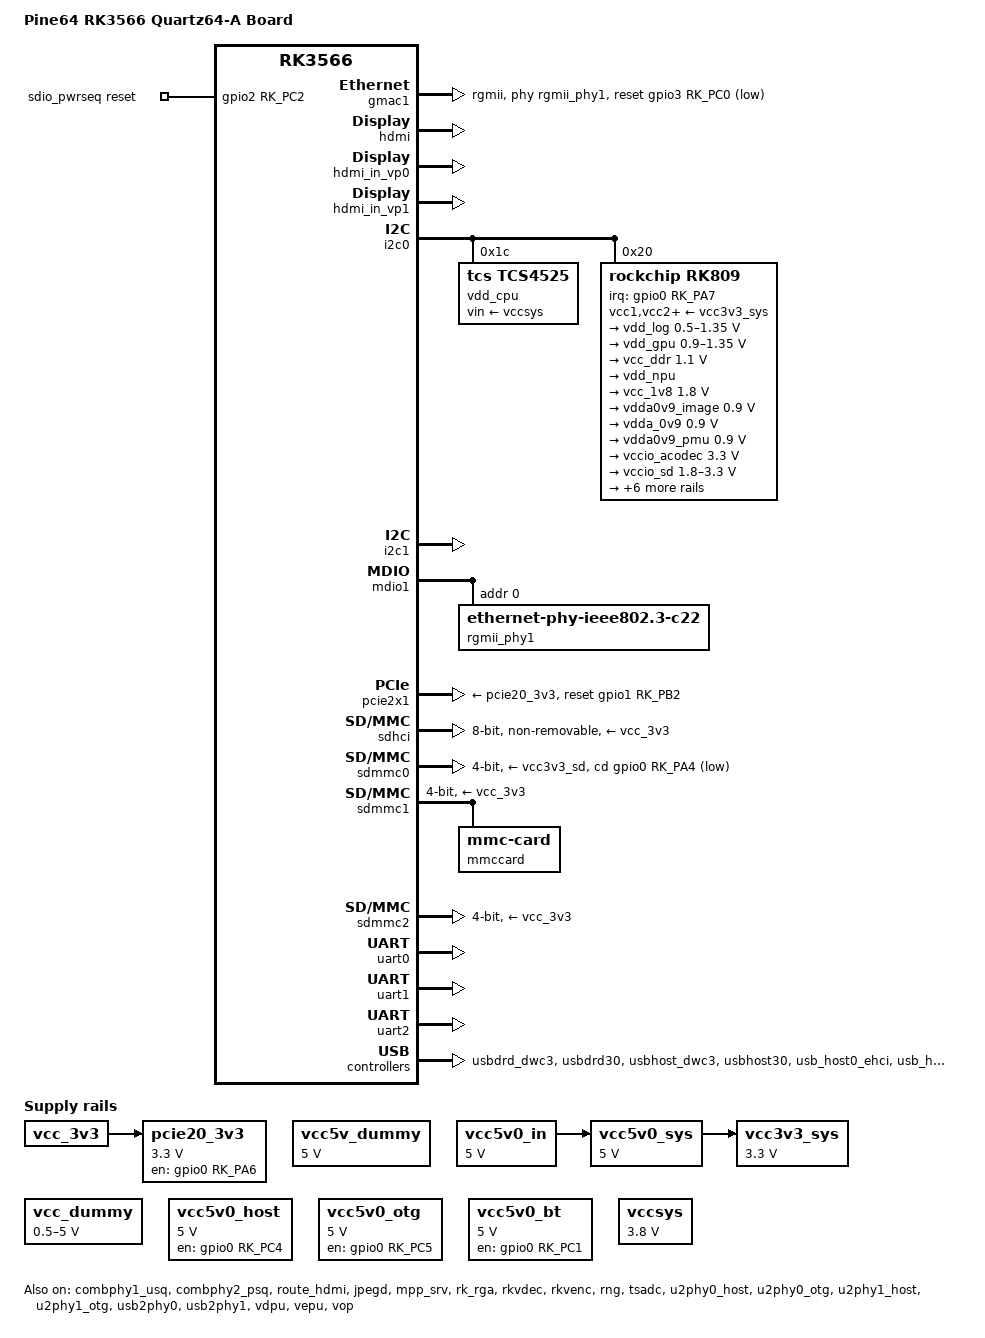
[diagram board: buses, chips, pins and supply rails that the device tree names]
// SPDX-License-Identifier: (GPL-2.0+ OR MIT)
/*
 *
 */

/dts-v1/;

#include <dt-bindings/gpio/gpio.h>
#include <dt-bindings/pinctrl/rockchip.h>
#include "rk3566.dtsi"

/ {
	model = "Pine64 RK3566 Quartz64-A Board";
	compatible = "rockchip,rk3566-quartz64-a", "rockchip,rk3566";

	aliases {
		mmc0 = &sdmmc0;
		mmc1 = &sdhci;
		mmc2 = &sdmmc1;
		mmc3 = &sdmmc2;
	};

	chosen: chosen {
	};

	pcie20_3v3: pcie20_3v3 {
		compatible = "regulator-fixed";
		regulator-name = "pcie20_3v3";
		regulator-min-microvolt = <3300000>;
		regulator-max-microvolt = <3300000>;
		gpio = <&gpio0 RK_PA6 GPIO_ACTIVE_HIGH>;
		enable-active-high;
		regulator-always-on;
		vin-supply = <&vcc_3v3>;
	};

	vcc5v_dummy: vcc5v_dummy {
		compatible = "regulator-fixed";
		regulator-name = "vcc5v_dummy";
		regulator-min-microvolt = <5000000>;
		regulator-max-microvolt = <5000000>;
		regulator-always-on;
	};

	vcc3v3_sys: vcc3v3_sys {
		compatible = "regulator-fixed";
		regulator-name = "vcc3v3_sys";
		regulator-min-microvolt = <3300000>;
		regulator-max-microvolt = <3300000>;
		regulator-always-on;
		vin-supply = <&vcc5v0_sys>;
	};

	vcc5v0_sys: vcc5v0_sys {
		compatible = "regulator-fixed";
		regulator-name = "vcc5v0_sys";
		regulator-min-microvolt = <5000000>;
		regulator-max-microvolt = <5000000>;
		regulator-always-on;
		vin-supply = <&vcc5v0_in>;
	};

	vcc5v0_in: vcc5v0_in {
		compatible = "regulator-fixed";
		regulator-name = "vcc5v0_in";
		regulator-min-microvolt = <5000000>;
		regulator-max-microvolt = <5000000>;
		regulator-always-on;
	};

	vcc_dummy: vcc_dummy {
		compatible = "regulator-fixed";
		regulator-name = "vcc_dummy";
		regulator-min-microvolt = <500000>;
		regulator-max-microvolt = <5000000>;
		regulator-always-on;
	};

	vcc5v0_host: vcc5v0_host {
		compatible = "regulator-fixed";
		regulator-name = "vcc5v0_host";
		regulator-min-microvolt = <5000000>;
		regulator-max-microvolt = <5000000>;
		gpio = <&gpio0 RK_PC4 GPIO_ACTIVE_HIGH>;
		enable-active-high;
		regulator-always-on;
//		pinctrl-names = "default";
//		pinctrl-0 = <&vcc5_gpio>;
	};

	vcc5v0_otg: vcc5v0_otg {
		compatible = "regulator-fixed";
		regulator-name = "vcc5v0_otg";
		regulator-min-microvolt = <5000000>;
		regulator-max-microvolt = <5000000>;
		gpio = <&gpio0 RK_PC5 GPIO_ACTIVE_HIGH>;
		enable-active-high;
		regulator-always-on;
//		pinctrl-names = "default";
//		pinctrl-0 = <&vcc5_gpio>;
	};

	vcc5v0_bt: vcc5v0_bt {
		compatible = "regulator-fixed";
		regulator-name = "vcc5v0_bt";
		regulator-min-microvolt = <5000000>;
		regulator-max-microvolt = <5000000>;
		gpio = <&gpio0 RK_PC1 GPIO_ACTIVE_HIGH>;
		enable-active-high;
		regulator-always-on;
	};

	vcc5v0_wifi: vcc5v0_wifi {
		compatible = "regulator-fixed";
		regulator-name = "vcc5v0_wifi";
		regulator-min-microvolt = <5000000>;
		regulator-max-microvolt = <5000000>;
		gpio = <&gpio0 RK_PC0 GPIO_ACTIVE_HIGH>;
		enable-active-high;
		regulator-always-on;
		status = "disabled";
	};

	hdmi_sound: hdmi-sound {
		compatible = "simple-audio-card";
		simple-audio-card,format = "i2s";
		simple-audio-card,mclk-fs = <256>;
		simple-audio-card,name = "rockchip,hdmi";
		status = "okay";

		simple-audio-card,cpu {
				sound-dai = <&i2s0_8ch>;
		};
		simple-audio-card,codec {
				sound-dai = <&hdmi>;
		};
	};

	vccsys: vccsys {
		compatible = "regulator-fixed";
		regulator-name = "vcc3v8_sys";
		regulator-always-on;
		regulator-boot-on;
		regulator-min-microvolt = <3800000>;
		regulator-max-microvolt = <3800000>;
	};

	sdio_pwrseq: sdio-pwrseq {
		status = "okay";
		compatible = "mmc-pwrseq-simple";
		clocks = <&rk809 1>;
		clock-names = "ext_clock";
		post-power-on-delay-ms = <100>;
		power-off-delay-us = <5000000>;

		/*
		 * On the module itself this is one of these (depending
		 * on the actual card populated):
		 * - SDIO_RESET_L_WL_REG_ON
		 * - PDN (power down when low)
		 */
		reset-gpios = <&gpio2 RK_PC2 GPIO_ACTIVE_HIGH>;
	};
};

&combphy1_usq {
	status = "okay";
};

&combphy2_psq {
	status = "okay";

};

&cpu0 {
	cpu-supply = <&vdd_cpu>;
};

&cpu1 {
	cpu-supply = <&vdd_cpu>;
};

&cpu2 {
	cpu-supply = <&vdd_cpu>;
};

&cpu3 {
	cpu-supply = <&vdd_cpu>;
};

&dmac0 {
	status = "disabled";
};

&dmac1 {
	status = "disabled";
};

&gmac1 {
	phy-mode = "rgmii";
	clock_in_out = "input";

	snps,reset-gpio = <&gpio3 RK_PC0 GPIO_ACTIVE_LOW>;
	snps,reset-active-low;
	/* Reset time is 20ms, 100ms for rtl8211f */
	snps,reset-delays-us = <0 20000 100000>;

	assigned-clocks = <&cru SCLK_GMAC1_RX_TX>, <&cru SCLK_GMAC1_RGMII_SPEED>, <&cru SCLK_GMAC1>;
	assigned-clock-parents = <&cru SCLK_GMAC1_RGMII_SPEED>, <&cru SCLK_GMAC1>, <&gmac1_clkin>;

	pinctrl-names = "default";
	pinctrl-0 = <&gmac1m1_miim
		     &gmac1m1_tx_bus2
		     &gmac1m1_rx_bus2
		     &gmac1m1_rgmii_clk
		     &gmac1m1_clkinout
		     &gmac1m1_rgmii_bus>;

	tx_delay = <0x4f>;
	rx_delay = <0x25>;

	phy-handle = <&rgmii_phy1>;
	status = "okay";
};

&gpu {
	mali-supply = <&vdd_gpu>;
//	status = "okay";
};

&gpu_opp_table {
	/delete-node/ opp-200000000;
};

&hdmi {
	status = "okay";
};

&hdmi_in_vp0 {
	status = "okay";
};

&hdmi_in_vp1 {
	status = "okay";
};

&hdmi_sound {
	status = "okay";
};

&route_hdmi {
	status = "okay";
};

&i2c0 {
	status = "okay";

	vdd_cpu: regulator@1c {
		compatible = "tcs,tcs4525";
		reg = <0x1c>;
		fcs,suspend-voltage-selector = <1>;
		regulator-name = "vdd_cpu";
		regulator-min-microvolt = <800000>;
//		regulator-max-microvolt = <1390000>;
		regulator-max-microvolt = <1150000>;
		regulator-ramp-delay = <2300>;
		regulator-always-on;
		regulator-boot-on;
		vin-supply = <&vccsys>;

		regulator-state-mem {
//			regulator-off-in-suspend;
		};
	};

	rk809: pmic@20 {
		compatible = "rockchip,rk809";
		reg = <0x20>;
		interrupt-parent = <&gpio0>;
		interrupts = <RK_PA7 IRQ_TYPE_LEVEL_LOW>;
		pinctrl-names = "default";
		pinctrl-0 = <&pmic_int>;
		rockchip,system-power-controller;
		wakeup-source;
		#clock-cells = <1>;
		clock-output-names = "rk808-clkout1", "rk808-clkout2";

		vcc1-supply = <&vcc3v3_sys>;
		vcc2-supply = <&vcc3v3_sys>;
		vcc3-supply = <&vcc3v3_sys>;
		vcc4-supply = <&vcc3v3_sys>;
		vcc5-supply = <&vcc3v3_sys>;
		vcc6-supply = <&vcc3v3_sys>;
		vcc7-supply = <&vcc3v3_sys>;
		vcc8-supply = <&vcc3v3_sys>;
		vcc9-supply = <&vcc3v3_sys>;

		regulators {
			vdd_log: DCDC_REG1 {
				regulator-name = "vdd_log";
				regulator-always-on;
				regulator-boot-on;
				regulator-min-microvolt = <500000>;
				regulator-max-microvolt = <1350000>;
				regulator-init-microvolt = <900000>;
				regulator-ramp-delay = <6001>;

				regulator-state-mem {
					regulator-on-in-suspend;
					regulator-suspend-microvolt = <900000>;
				};
			};

			vdd_gpu: DCDC_REG2 {
				regulator-name = "vdd_gpu";
				regulator-always-on;
				regulator-boot-on;
				regulator-min-microvolt = <900000>;
				regulator-max-microvolt = <1350000>;
				regulator-init-microvolt = <900000>;
				regulator-ramp-delay = <6001>;

				regulator-state-mem {
					regulator-off-in-suspend;
					regulator-suspend-microvolt = <900000>;
				};
			};

			vcc_ddr: DCDC_REG3 {
				regulator-name = "vcc_ddr";
				regulator-always-on;
				regulator-boot-on;
				regulator-min-microvolt = <1100000>;
				regulator-max-microvolt = <1100000>;

				regulator-state-mem {
					regulator-on-in-suspend;
				};
			};

			vdd_npu: DCDC_REG4 {
				regulator-name = "vdd_npu";
				regulator-always-on;
				regulator-boot-on;
//				regulator-min-microvolt = <900000>;
//				regulator-max-microvolt = <1350000>;
//				regulator-init-microvolt = <900000>;

				regulator-state-mem {
					regulator-off-in-suspend;
//					regulator-suspend-microvolt = <9000000>;
				};
			};

			vcc_1v8: DCDC_REG5 {
				regulator-name = "vcc_1v8";
				regulator-always-on;
				regulator-boot-on;
				regulator-min-microvolt = <1800000>;
				regulator-max-microvolt = <1800000>;

				regulator-state-mem {
					regulator-on-in-suspend;
					regulator-suspend-microvolt = <1800000>;
				};
			};

			vdda0v9_image: LDO_REG1 {
				regulator-name = "vdda0v9_image";
				regulator-always-on;
				regulator-boot-on;
				regulator-min-microvolt = <900000>;
				regulator-max-microvolt = <900000>;

				regulator-state-mem {
					regulator-on-in-suspend;
					regulator-suspend-microvolt = <900000>;
				};
			};

			vdda_0v9: LDO_REG2 {
				regulator-name = "vdda_0v9";
				regulator-always-on;
				regulator-boot-on;
				regulator-min-microvolt = <900000>;
				regulator-max-microvolt = <900000>;

				regulator-state-mem {
					regulator-on-in-suspend;
					regulator-suspend-microvolt = <900000>;
				};
			};

			vdda0v9_pmu: LDO_REG3 {
				regulator-name = "vdda0v9_pmu";
				regulator-always-on;
				regulator-boot-on;
				regulator-min-microvolt = <900000>;
				regulator-max-microvolt = <900000>;

				regulator-state-mem {
					regulator-on-in-suspend;
					regulator-suspend-microvolt = <900000>;
				};
			};

			vccio_acodec: LDO_REG4 {
				regulator-name = "vccio_acodec";
				regulator-always-on;
				regulator-boot-on;
				regulator-min-microvolt = <3300000>;
				regulator-max-microvolt = <3300000>;

				regulator-state-mem {
					regulator-on-in-suspend;
					regulator-suspend-microvolt = <3300000>;

				};
			};

			vccio_sd: LDO_REG5 {
				regulator-name = "vccio_sd";
				regulator-always-on;
				regulator-boot-on;
				regulator-min-microvolt = <1800000>;
				regulator-max-microvolt = <3300000>;

				regulator-state-mem {
					regulator-on-in-suspend;
					regulator-suspend-microvolt = <3300000>;
				};
			};

			vcc3v3_pmu: LDO_REG6 {
				regulator-name = "vcc3v3_pmu";
				regulator-always-on;
				regulator-boot-on;
				regulator-min-microvolt = <3300000>;
				regulator-max-microvolt = <3300000>;

				regulator-state-mem {
					regulator-on-in-suspend;
					regulator-suspend-microvolt = <3300000>;
				};
			};

			vcca_1v8: LDO_REG7 {
				regulator-name = "vcca_1v8";
				regulator-always-on;
				regulator-boot-on;
				regulator-min-microvolt = <1800000>;
				regulator-max-microvolt = <1800000>;

				regulator-state-mem {
					regulator-on-in-suspend;
					regulator-suspend-microvolt = <1800000>;
				};
			};

			vcca1v8_pmu: LDO_REG8 {
				regulator-name = "vcca1v8_pmu";
				regulator-always-on;
				regulator-boot-on;
				regulator-min-microvolt = <1800000>;
				regulator-max-microvolt = <1800000>;

				regulator-state-mem {
					regulator-on-in-suspend;
					regulator-suspend-microvolt = <1800000>;
				};
			};

			vcca1v8_image: LDO_REG9 {
				regulator-name = "vcca1v8_image";
				regulator-always-on;
				regulator-boot-on;
				regulator-min-microvolt = <1800000>;
				regulator-max-microvolt = <1800000>;

				regulator-state-mem {
					regulator-on-in-suspend;
					regulator-suspend-microvolt = <1800000>;
				};
			};

			vcc_3v3: SWITCH_REG1 {
				regulator-boot-on;
				regulator-name = "vcc3v3";
			};

			vcc3v3_sd: SWITCH_REG2 {
				regulator-name = "vcc3v3_sd";
				regulator-always-on;
				regulator-boot-on;
			};
		};
	};
};

&i2c1 {
	status = "okay";
};

&i2c2 {
//	status = "okay";
};

&i2c3 {
//	status = "okay";
//	pinctrl-names = "default";
//	pinctrl-0 = <&i2c3m1_xfer>;
};

&i2c5 {
//	status = "okay";
};

&jpegd {
	status = "okay";
};

&jpegd_mmu {
	status = "okay";
};

&mdio1 {
	rgmii_phy1: ethernet-phy@0 {
		compatible = "ethernet-phy-ieee802.3-c22";
		reg = <0x0>;
	};
};

&mipi_dphy0 {
	status = "disabled";
};

&mpp_srv {
	status = "okay";
};

&nandc0 {
	status = "disabled";
};

&pcie2x1 {
	reset-gpios = <&gpio1 RK_PB2 GPIO_ACTIVE_HIGH>;
	status = "okay";
	vpcie3v3-supply = <&pcie20_3v3>;
};

&pinctrl {
	pmic {
		pmic_int: pmic_int {
			rockchip,pins =
				<0 RK_PA3 RK_FUNC_GPIO &pcfg_pull_up>;
		};
	};
};

&pmu_io_domains {
	status = "okay";
	pmuio1-supply = <&vcc3v3_pmu>;
	pmuio2-supply = <&vcca1v8_pmu>;
	vccio1-supply = <&vccio_acodec>;
	vccio2-supply = <&vcc_1v8>;
	vccio3-supply = <&vccio_sd>;
	vccio4-supply = <&vcca1v8_pmu>;
	vccio5-supply = <&vcc_3v3>;
	vccio6-supply = <&vcc_3v3>;
	vccio7-supply = <&vcc_3v3>;
};

&power {
	status = "disabled";
};

&pwm4 {
	status = "disabled";
};

&reserved_memory {

	ramoops: ramoops@110000 {
		compatible = "ramoops";
		reg = <0x0 0x110000 0x0 0xf0000>;
		record-size = <0x20000>;
		console-size = <0x80000>;
		ftrace-size = <0x00000>;
		pmsg-size = <0x50000>;
	};
};

&rk_rga {
	status = "okay";
};

&rkvdec {
	status = "okay";
};

&rkvdec_mmu {
	status = "okay";
};

&rkvenc {
	status = "okay";
};

&rkvenc_mmu {
	status = "okay";
};

&rng {
	status = "okay";
};

&saradc {
	status = "disabled";
	vref-supply = <&vcc_1v8>;
};

&sdhci {
	bus-width = <8>;
	non-removable;
	keep-power-in-suspend;
//	rockchip,txclk-tapnum = <0x8>;
//	max-frequency = <200000000>;
//	max-frequency = <50000000>;
	status = "okay";
	vmmc-supply = <&vcc_3v3>;
	vqmmc-supply = <&vcc_1v8>;
	pinctrl-names = "default";
	pinctrl-0 = <&emmc_bus8 &emmc_clk &emmc_cmd &emmc_datastrobe>;
};

&sdmmc0 {
	max-frequency = <50000000>;
	supports-sd;
	bus-width = <4>;
	cap-mmc-highspeed;
	cap-sd-highspeed;
	disable-wp;
	sd-uhs-sdr104;
	vmmc-supply = <&vcc3v3_sd>;
	vqmmc-supply = <&vccio_sd>;
	pinctrl-names = "default";
	pinctrl-0 = <&sdmmc0_bus4 &sdmmc0_clk &sdmmc0_cmd &sdmmc0_det>;
	cd-gpios = <&gpio0 RK_PA4 GPIO_ACTIVE_LOW>;
	status = "okay";
};

&sdmmc1 {
//	max-frequency = <150000000>;
	bus-width = <4>;
	cap-sd-highspeed;
	cap-sdio-irq;
	keep-power-in-suspend;
	mmc-pwrseq = <&sdio_pwrseq>;
//	non-removable;
	vmmc-supply = <&vcc_3v3>;
	vqmmc-supply = <&vcca1v8_pmu>;
	pinctrl-names = "default";
	pinctrl-0 = <&sdmmc1_bus4 &sdmmc1_cmd &sdmmc1_clk &uart9m1_xfer &uart8m1_xfer>;
	sd-uhs-sdr104;
	status = "okay";
//	assigned-clocks = <&cru CLK_SDMMC1>;
//	assigned-clock-parents = <&cru CPLL_100M>;

	mmccard: mmccard {
		compatible = "mmc-card";
	};
};

&sdmmc2 {
	cap-sd-highspeed;
	cap-sdio-irq;
	bus-width = <4>;
	vmmc-supply = <&vcc_3v3>;
	vqmmc-supply = <&vcca1v8_pmu>;
	pinctrl-names = "default";
	pinctrl-0 = <&sdmmc2m0_bus4 &sdmmc2m0_cmd &sdmmc2m0_clk>;
	sd-uhs-sdr104;
	status = "okay";
};

&tsadc {
	status = "okay";
};

&uart0 {
	status = "okay";
	pinctrl-names = "default";
	pinctrl-0 = <&uart0_xfer>;
};

&uart1 {
	status = "okay";
	pinctrl-names = "default";
	pinctrl-0 = <&uart1m0_xfer &uart1m0_ctsn>;
	uart-has-rtscts;

	bluetooth {
//		compatible = "brcm,bcm4345c5";
//		compatible = "realtek,rtl8723bs-bt";
		clocks = <&rk809 1>;
		clock-names = "lpo";
//		device-wake-gpios = <&gpio2 RK_PC1 GPIO_ACTIVE_HIGH>; /* PL5 */
//		host-wake-gpios = <&gpio2 RK_PC0 GPIO_ACTIVE_HIGH>; /* PL6 */
        };
};

&uart2 {
	status = "okay";
};

&u2phy0_host {
	phy-supply = <&vcc5v0_host>;
	status = "okay";
};

&u2phy0_otg {
	vbus-supply = <&vcc5v0_host>;
	status = "okay";
};

&sata1 {
//	status = "okay";
};

&sata2 {
//	status = "okay";
};

&u2phy1_host {
	phy-supply = <&vcc5v0_host>;
	status = "okay";
};

&u2phy1_otg {
	phy-supply = <&vcc5v0_host>;
	status = "okay";
};

&usb2phy0 {
	status = "okay";
};

&usbdrd_dwc3 {
	status = "okay";
};

&usbdrd30 {
	status = "okay";
};

&usbhost_dwc3 {
	status = "okay";
};

&usbhost30 {
	status = "okay";
};

&usb_host0_ehci {
	status = "okay";
};

&usb_host0_ohci {
	status = "okay";
};

&usb_host1_ehci {
	status = "okay";
};

&usb_host1_ohci {
	status = "okay";
};

&usb2phy0 {
	status = "okay";
};

&usb2phy1 {
	status = "okay";
};

&vdpu {
	status = "okay";
};

&vdpu_mmu {
	status = "okay";
};

&vepu {
	status = "okay";
};

&vepu_mmu {
	status = "okay";
};

&vop {
	status = "okay";
	support-multi-area;
};

&vop_mmu {
	status = "okay";
};
